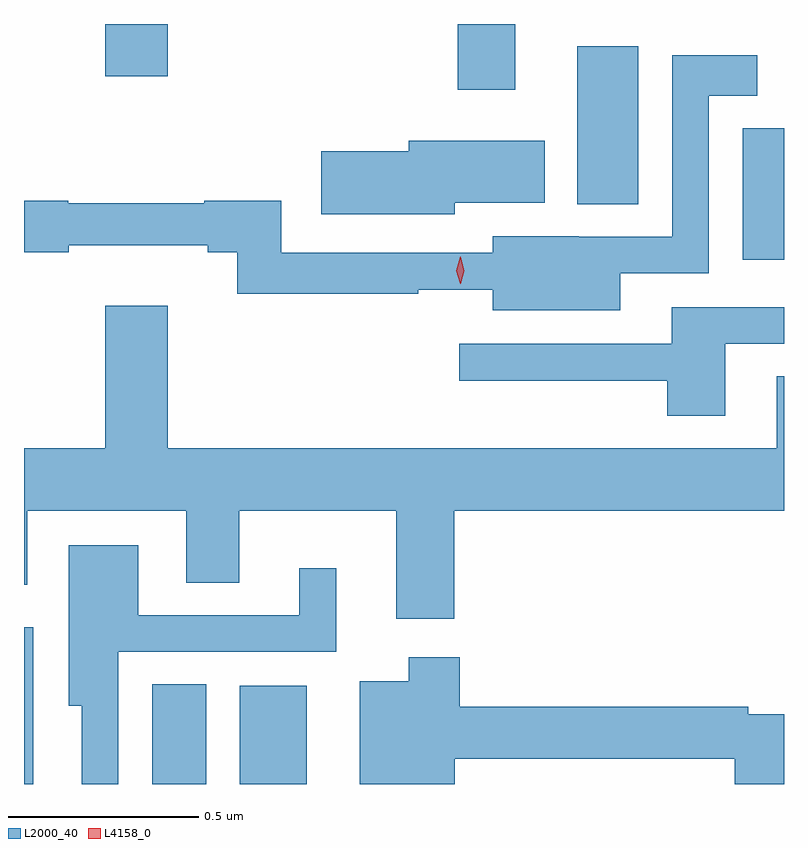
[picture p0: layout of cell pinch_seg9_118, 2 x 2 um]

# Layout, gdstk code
import gdstk
lib = gdstk.Library(unit=1e-6, precision=1e-09)
def R(c, l, rs):  # rectangles x0, y0, x1, y1
    for r in rs: c.add(gdstk.rectangle(r[:2], r[2:], *l))
def P(c, l, *ps):  # polygons
    for p in ps: c.add(gdstk.Polygon(p, *l))
L2000_40 = (2000, 40)
L4158_0 = (4158, 0)

pinch_seg9_118 = lib.new_cell('pinch_seg9_118')
R(pinch_seg9_118, L2000_40, [(860.098,1230.333,860.122,1230.745), (860.435,1230.333,860.578,1230.596), (860.666,1230.333,860.842,1230.592), (861.989,1231.713,862.098,1232.059), (861.554,1231.859,861.715,1232.275), (861.239,1232.16,861.391,1232.333), (860.312,1232.196,860.476,1232.333)])
P(pinch_seg9_118, L2000_40, [(861.667,1231.677),(861.9,1231.677),(861.9,1232.144),(862.027,1232.144),(862.027,1232.251),(861.804,1232.251),(861.804,1231.773),(861.558,1231.773),(861.558,1231.774),(861.332,1231.774),(861.332,1231.731),(860.775,1231.731),(860.775,1231.868),(860.572,1231.868),(860.572,1231.861),(860.214,1231.861),(860.214,1231.868),(860.098,1231.868),(860.098,1231.732),(860.216,1231.732),(860.216,1231.751),(860.582,1231.751),(860.582,1231.732),(860.659,1231.732),(860.659,1231.623),(861.136,1231.623),(861.136,1231.634),(861.332,1231.634),(861.332,1231.58),(861.667,1231.58)],
  [(861.232,1231.862),(861.469,1231.862),(861.469,1232.026),(861.11,1232.026),(861.11,1231.998),(860.88,1231.998),(860.88,1231.832),(861.232,1231.832)],
  [(861.23,1231.052),(862.098,1231.052),(862.098,1231.406),(862.079,1231.406),(862.079,1231.216),(860.476,1231.216),(860.476,1231.591),(860.312,1231.591),(860.312,1231.216),(860.098,1231.216),(860.098,1230.858),(860.107,1230.858),(860.107,1231.052),(860.525,1231.052),(860.525,1230.862),(860.665,1230.862),(860.665,1231.052),(861.077,1231.052),(861.077,1230.768),(861.23,1230.768)],
  [(861.943,1231.491),(862.098,1231.491),(862.098,1231.587),(861.803,1231.587),(861.803,1231.491),(861.243,1231.491),(861.243,1231.394),(861.791,1231.394),(861.791,1231.302),(861.943,1231.302)],
  [(860.346,1230.681),(860.92,1230.681),(860.92,1230.901),(860.822,1230.901),(860.822,1230.777),(860.398,1230.777),(860.398,1230.961),(860.216,1230.961),(860.216,1230.539),(860.25,1230.539),(860.25,1230.333),(860.346,1230.333)],
  [(861.232,1230.4),(861.968,1230.4),(861.968,1230.333),(862.098,1230.333),(862.098,1230.516),(862.004,1230.516),(862.004,1230.536),(861.245,1230.536),(861.245,1230.667),(861.11,1230.667),(861.11,1230.604),(860.981,1230.604),(860.981,1230.333),(861.232,1230.333)])
P(pinch_seg9_118, L4158_0, [(861.246,1231.649),(861.246,1231.649),(861.236,1231.684),(861.246,1231.72),(861.246,1231.72),(861.247,1231.72),(861.256,1231.684),(861.247,1231.649)])

lib.write_gds('pinch_seg9_118.gds')
